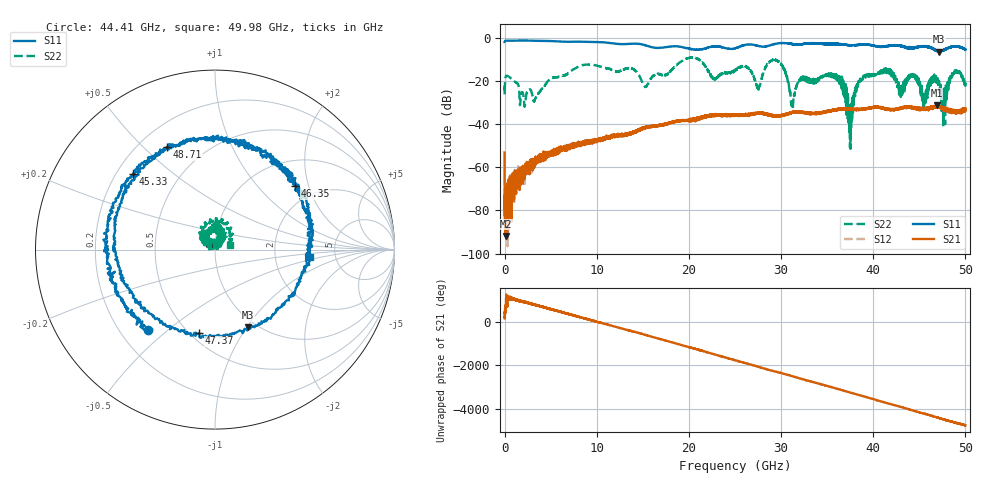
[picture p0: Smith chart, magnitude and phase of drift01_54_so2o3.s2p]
!Created with skrf (http://scikit-rf.org).
# Hz S RI R 50.0
!freq ReS11 ImS11 ReS21 ImS21 ReS12 ImS12 ReS22 ImS22
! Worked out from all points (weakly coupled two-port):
!   10001 points, 300 kHz to 50 GHz, reference 50 ohm
!   highest |S21| = -31.38 dB at 46.87 GHz (marker M1); lowest = -91.8 dB at 115.3 MHz (marker M2)
!   lowest |S11| = -6.6 dB at 47.14 GHz (marker M3), VSWR 2.78, Z = 45.4 - j50.6 ohm
!   |S11| at or under -10 dB: nowhere
!   |S22| runs from -51.5 to -9.2 dB; largest |S21 - S12| = 0.0047
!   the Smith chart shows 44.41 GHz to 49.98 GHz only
!   S11 on the Smith chart (normalised r, x): 44.41 GHz: 0.32, -0.43; 45.33 GHz: 0.27, +0.37; 46.35 GHz: 1.55, +1.63; 47.37 GHz: 0.55, -0.67; 48.71 GHz: 0.31, +0.59; 49.98 GHz: 3.21, -0.35
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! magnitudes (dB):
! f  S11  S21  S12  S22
! 300 kHz  -2.1  -53.2  -58.1  -22.2
! 115.3 MHz  -1.5  -91.8  -75.8  -18.2
! 3.29 GHz  -1.5  -56.8  -56.1  -28.9
! 8.335 GHz  -1.9  -49.0  -48.3  -12.9
! 16.67 GHz  -4.8  -40.7  -40.7  -16.7
! 25 GHz  -5.0  -35.8  -35.8  -15.5
! 29.59 GHz  -2.8  -36.1  -36.3  -10.7
! 31.24 GHz  -3.0  -34.8  -34.5  -32.1
! 33.34 GHz  -2.6  -34.9  -35.1  -19.5
! 36.06 GHz  -2.9  -33.0  -33.5  -18.7
! 37.47 GHz  -3.6  -33.1  -33.0  -33.5
! 38.65 GHz  -3.3  -33.3  -33.3  -20.1
! 41.67 GHz  -3.8  -33.4  -33.2  -15.1
! 44.41 GHz  -4.7  -32.7  -32.5  -17.7
! 45.33 GHz  -4.1  -32.9  -33.0  -28.7
! 46.35 GHz  -4.9  -32.4  -32.3  -18.3
! 46.87 GHz  -5.9  -31.4  -32.0  -20.4
! 47.14 GHz  -6.6  -32.1  -32.0  -20.2
! 47.37 GHz  -6.5  -32.6  -32.3  -26.3
! 48.71 GHz  -4.0  -34.8  -34.6  -16.2
! 49.98 GHz  -5.5  -34.3  -33.8  -21.3
! 50 GHz  -5.5  -33.3  -33.1  -21.3
